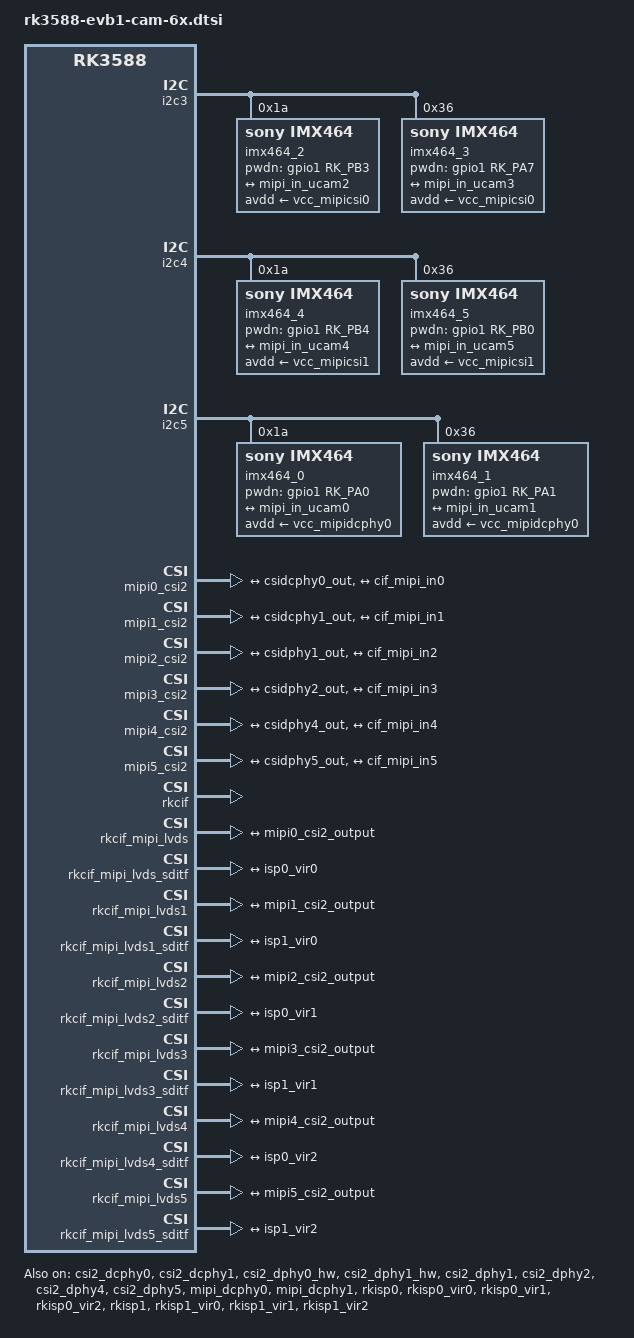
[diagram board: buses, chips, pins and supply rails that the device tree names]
// SPDX-License-Identifier: (GPL-2.0+ OR MIT)
/*
 * Copyright (c) 2021 Rockchip Electronics Co., Ltd.
 *
 */

&csi2_dcphy0 {
	status = "okay";

	ports {
		#address-cells = <1>;
		#size-cells = <0>;
		port@0 {
			reg = <0>;
			#address-cells = <1>;
			#size-cells = <0>;

			mipi_in_ucam0: endpoint@1 {
				reg = <1>;
				remote-endpoint = <&imx464_out0>;
				data-lanes = <1 2>;
			};
		};
		port@1 {
			reg = <1>;
			#address-cells = <1>;
			#size-cells = <0>;

			csidcphy0_out: endpoint@0 {
				reg = <0>;
				remote-endpoint = <&mipi0_csi2_input>;
			};
		};
	};
};

&csi2_dcphy1 {
	status = "okay";

	ports {
		#address-cells = <1>;
		#size-cells = <0>;
		port@0 {
			reg = <0>;
			#address-cells = <1>;
			#size-cells = <0>;

			mipi_in_ucam1: endpoint@1 {
				reg = <1>;
				remote-endpoint = <&imx464_out1>;
				data-lanes = <1 2>;
			};
		};
		port@1 {
			reg = <1>;
			#address-cells = <1>;
			#size-cells = <0>;

			csidcphy1_out: endpoint@0 {
				reg = <0>;
				remote-endpoint = <&mipi1_csi2_input>;
			};
		};
	};
};

&csi2_dphy0_hw {
	status = "okay";
};

&csi2_dphy1_hw {
	status = "okay";
};

&csi2_dphy1 {
	status = "okay";

	ports {
		#address-cells = <1>;
		#size-cells = <0>;
		port@0 {
			reg = <0>;
			#address-cells = <1>;
			#size-cells = <0>;

			mipi_in_ucam2: endpoint@1 {
				reg = <1>;
				remote-endpoint = <&imx464_out2>;
				data-lanes = <1 2>;
			};
		};
		port@1 {
			reg = <1>;
			#address-cells = <1>;
			#size-cells = <0>;

			csidphy1_out: endpoint@0 {
				reg = <0>;
				remote-endpoint = <&mipi2_csi2_input>;
			};
		};
	};
};

&csi2_dphy2 {
	status = "okay";

	ports {
		#address-cells = <1>;
		#size-cells = <0>;
		port@0 {
			reg = <0>;
			#address-cells = <1>;
			#size-cells = <0>;

			mipi_in_ucam3: endpoint@1 {
				reg = <1>;
				remote-endpoint = <&imx464_out3>;
				data-lanes = <1 2>;
			};
		};
		port@1 {
			reg = <1>;
			#address-cells = <1>;
			#size-cells = <0>;

			csidphy2_out: endpoint@0 {
				reg = <0>;
				remote-endpoint = <&mipi3_csi2_input>;
			};
		};
	};
};

&csi2_dphy4 {
	status = "okay";

	ports {
		#address-cells = <1>;
		#size-cells = <0>;
		port@0 {
			reg = <0>;
			#address-cells = <1>;
			#size-cells = <0>;

			mipi_in_ucam4: endpoint@1 {
				reg = <1>;
				remote-endpoint = <&imx464_out4>;
				data-lanes = <1 2>;
			};
		};
		port@1 {
			reg = <1>;
			#address-cells = <1>;
			#size-cells = <0>;

			csidphy4_out: endpoint@0 {
				reg = <0>;
				remote-endpoint = <&mipi4_csi2_input>;
			};
		};
	};
};

&csi2_dphy5 {
	status = "okay";

	ports {
		#address-cells = <1>;
		#size-cells = <0>;
		port@0 {
			reg = <0>;
			#address-cells = <1>;
			#size-cells = <0>;

			mipi_in_ucam5: endpoint@1 {
				reg = <1>;
				remote-endpoint = <&imx464_out5>;
				data-lanes = <1 2>;
			};
		};
		port@1 {
			reg = <1>;
			#address-cells = <1>;
			#size-cells = <0>;

			csidphy5_out: endpoint@0 {
				reg = <0>;
				remote-endpoint = <&mipi5_csi2_input>;
			};
		};
	};
};

&i2c3 {
	status = "okay";

	/* module 77/79 0x1a 78/80 0x36 */
	imx464_2: imx464-2@1a {
		compatible = "sony,imx464";
		status = "okay";
		reg = <0x1a>;
		clocks = <&cru CLK_MIPI_CAMARAOUT_M3>;
		clock-names = "xvclk";
		power-domains = <&power RK3588_PD_VI>;
		pinctrl-names = "default";
		pinctrl-0 = <&mipim0_camera3_clk>;
		avdd-supply = <&vcc_mipicsi0>;
		pwdn-gpios = <&gpio1 RK_PB3 GPIO_ACTIVE_HIGH>;
		rockchip,camera-module-index = <2>;
		rockchip,camera-module-facing = "back";
		rockchip,camera-module-name = "CMK-OT1980-PX1";
		rockchip,camera-module-lens-name = "SHG102";
		port {
			imx464_out2: endpoint {
				remote-endpoint = <&mipi_in_ucam2>;
				data-lanes = <1 2>;
			};
		};
	};

	imx464_3: imx464-3@36 {
		compatible = "sony,imx464";
		status = "okay";
		reg = <0x36>;
		clocks = <&cru CLK_MIPI_CAMARAOUT_M3>;
		clock-names = "xvclk";
		power-domains = <&power RK3588_PD_VI>;
		avdd-supply = <&vcc_mipicsi0>;
		pwdn-gpios = <&gpio1 RK_PA7 GPIO_ACTIVE_HIGH>;
		rockchip,camera-module-index = <3>;
		rockchip,camera-module-facing = "back";
		rockchip,camera-module-name = "CMK-OT1980-PX1";
		rockchip,camera-module-lens-name = "SHG102";
		port {
			imx464_out3: endpoint {
				remote-endpoint = <&mipi_in_ucam3>;
				data-lanes = <1 2>;
			};
		};
	};
};

&i2c4 {
	status = "okay";
	pinctrl-0 = <&i2c4m3_xfer>;

	/* 77/79 0x1a 78/80 0x36 */
	imx464_4: imx464-4@1a {
		compatible = "sony,imx464";
		status = "okay";
		reg = <0x1a>;
		clocks = <&cru CLK_MIPI_CAMARAOUT_M4>;
		clock-names = "xvclk";
		power-domains = <&power RK3588_PD_VI>;
		pinctrl-names = "default";
		pinctrl-0 = <&mipim0_camera4_clk>;
		avdd-supply = <&vcc_mipicsi1>;
		pwdn-gpios = <&gpio1 RK_PB4 GPIO_ACTIVE_HIGH>;
		rockchip,camera-module-index = <0>;
		rockchip,camera-module-facing = "back";
		rockchip,camera-module-name = "CMK-OT1980-PX1";
		rockchip,camera-module-lens-name = "SHG102";
		port {
			imx464_out4: endpoint {
				remote-endpoint = <&mipi_in_ucam4>;
				data-lanes = <1 2>;
			};
		};
	};

	imx464_5: imx464-5@36 {
		compatible = "sony,imx464";
		status = "okay";
		reg = <0x36>;
		clocks = <&cru CLK_MIPI_CAMARAOUT_M4>;
		clock-names = "xvclk";
		power-domains = <&power RK3588_PD_VI>;
		avdd-supply = <&vcc_mipicsi1>;
		pwdn-gpios = <&gpio1 RK_PB0 GPIO_ACTIVE_HIGH>;
		rockchip,camera-module-index = <1>;
		rockchip,camera-module-facing = "back";
		rockchip,camera-module-name = "CMK-OT1980-PX1";
		rockchip,camera-module-lens-name = "SHG102";
		port {
			imx464_out5: endpoint {
				remote-endpoint = <&mipi_in_ucam5>;
				data-lanes = <1 2>;
			};
		};
	};
};

&i2c5 {
	status = "okay";

	/* 77/79 0x1a 78/80 0x36 */
	imx464_0: imx464-0@1a {
		compatible = "sony,imx464";
		status = "okay";
		reg = <0x1a>;
		clocks = <&cru CLK_MIPI_CAMARAOUT_M1>;
		clock-names = "xvclk";
		power-domains = <&power RK3588_PD_VI>;
		pwdn-gpios = <&gpio1 RK_PA0 GPIO_ACTIVE_HIGH>;
		pinctrl-names = "default";
		pinctrl-0 = <&mipim0_camera1_clk>;
		avdd-supply = <&vcc_mipidcphy0>;
		rockchip,camera-module-index = <4>;
		rockchip,camera-module-facing = "back";
		rockchip,camera-module-name = "CMK-OT1980-PX1";
		rockchip,camera-module-lens-name = "SHG102";
		port {
			imx464_out0: endpoint {
				remote-endpoint = <&mipi_in_ucam0>;
				data-lanes = <1 2>;
			};
		};
	};

	imx464_1: imx464-1@36 {
		compatible = "sony,imx464";
		status = "okay";
		reg = <0x36>;
		clocks = <&cru CLK_MIPI_CAMARAOUT_M2>;
		clock-names = "xvclk";
		power-domains = <&power RK3588_PD_VI>;
		pinctrl-names = "default";
		pinctrl-0 = <&mipim0_camera2_clk>;
		pwdn-gpios = <&gpio1 RK_PA1 GPIO_ACTIVE_HIGH>;
		avdd-supply = <&vcc_mipidcphy0>;
		rockchip,camera-module-index = <5>;
		rockchip,camera-module-facing = "back";
		rockchip,camera-module-name = "CMK-OT1980-PX1";
		rockchip,camera-module-lens-name = "SHG102";
		port {
			imx464_out1: endpoint {
				remote-endpoint = <&mipi_in_ucam1>;
				data-lanes = <1 2>;
			};
		};
	};
};

&mipi_dcphy0 {
	status = "okay";
};

&mipi_dcphy1 {
	status = "okay";
};

&mipi0_csi2 {
	status = "okay";

	ports {
		#address-cells = <1>;
		#size-cells = <0>;

		port@0 {
			reg = <0>;
			#address-cells = <1>;
			#size-cells = <0>;

			mipi0_csi2_input: endpoint@1 {
				reg = <1>;
				remote-endpoint = <&csidcphy0_out>;
			};
		};

		port@1 {
			reg = <1>;
			#address-cells = <1>;
			#size-cells = <0>;

			mipi0_csi2_output: endpoint@0 {
				reg = <0>;
				remote-endpoint = <&cif_mipi_in0>;
			};
		};
	};
};

&mipi1_csi2 {
	status = "okay";

	ports {
		#address-cells = <1>;
		#size-cells = <0>;

		port@0 {
			reg = <0>;
			#address-cells = <1>;
			#size-cells = <0>;

			mipi1_csi2_input: endpoint@1 {
				reg = <1>;
				remote-endpoint = <&csidcphy1_out>;
			};
		};

		port@1 {
			reg = <1>;
			#address-cells = <1>;
			#size-cells = <0>;

			mipi1_csi2_output: endpoint@0 {
				reg = <0>;
				remote-endpoint = <&cif_mipi_in1>;
			};
		};
	};
};

&mipi2_csi2 {
	status = "okay";

	ports {
		#address-cells = <1>;
		#size-cells = <0>;

		port@0 {
			reg = <0>;
			#address-cells = <1>;
			#size-cells = <0>;

			mipi2_csi2_input: endpoint@1 {
				reg = <1>;
				remote-endpoint = <&csidphy1_out>;
			};
		};

		port@1 {
			reg = <1>;
			#address-cells = <1>;
			#size-cells = <0>;

			mipi2_csi2_output: endpoint@0 {
				reg = <0>;
				remote-endpoint = <&cif_mipi_in2>;
			};
		};
	};
};

&mipi3_csi2 {
	status = "okay";

	ports {
		#address-cells = <1>;
		#size-cells = <0>;

		port@0 {
			reg = <0>;
			#address-cells = <1>;
			#size-cells = <0>;

			mipi3_csi2_input: endpoint@1 {
				reg = <1>;
				remote-endpoint = <&csidphy2_out>;
			};
		};

		port@1 {
			reg = <1>;
			#address-cells = <1>;
			#size-cells = <0>;

			mipi3_csi2_output: endpoint@0 {
				reg = <0>;
				remote-endpoint = <&cif_mipi_in3>;
			};
		};
	};
};

&mipi4_csi2 {
	status = "okay";

	ports {
		#address-cells = <1>;
		#size-cells = <0>;

		port@0 {
			reg = <0>;
			#address-cells = <1>;
			#size-cells = <0>;

			mipi4_csi2_input: endpoint@1 {
				reg = <1>;
				remote-endpoint = <&csidphy4_out>;
			};
		};

		port@1 {
			reg = <1>;
			#address-cells = <1>;
			#size-cells = <0>;

			mipi4_csi2_output: endpoint@0 {
				reg = <0>;
				remote-endpoint = <&cif_mipi_in4>;
			};
		};
	};
};

&mipi5_csi2 {
	status = "okay";

	ports {
		#address-cells = <1>;
		#size-cells = <0>;

		port@0 {
			reg = <0>;
			#address-cells = <1>;
			#size-cells = <0>;

			mipi5_csi2_input: endpoint@1 {
				reg = <1>;
				remote-endpoint = <&csidphy5_out>;
			};
		};

		port@1 {
			reg = <1>;
			#address-cells = <1>;
			#size-cells = <0>;

			mipi5_csi2_output: endpoint@0 {
				reg = <0>;
				remote-endpoint = <&cif_mipi_in5>;
			};
		};
	};
};

&rkcif {
	status = "okay";
};

&rkcif_mipi_lvds {
	status = "okay";

	port {
		cif_mipi_in0: endpoint {
			remote-endpoint = <&mipi0_csi2_output>;
		};
	};
};

&rkcif_mipi_lvds_sditf {
	status = "okay";

	port {
		mipi_lvds_sditf: endpoint {
			remote-endpoint = <&isp0_vir0>;
		};
	};
};

&rkcif_mipi_lvds1 {
	status = "okay";

	port {
		cif_mipi_in1: endpoint {
			remote-endpoint = <&mipi1_csi2_output>;
		};
	};
};

&rkcif_mipi_lvds1_sditf {
	status = "okay";

	port {
		mipi1_lvds_sditf: endpoint {
			remote-endpoint = <&isp1_vir0>;
		};
	};
};

&rkcif_mipi_lvds2 {
	status = "okay";

	port {
		cif_mipi_in2: endpoint {
			remote-endpoint = <&mipi2_csi2_output>;
		};
	};
};

&rkcif_mipi_lvds2_sditf {
	status = "okay";

	port {
		mipi2_lvds_sditf: endpoint {
			remote-endpoint = <&isp0_vir1>;
		};
	};
};

&rkcif_mipi_lvds3 {
	status = "okay";

	port {
		cif_mipi_in3: endpoint {
			remote-endpoint = <&mipi3_csi2_output>;
		};
	};
};

&rkcif_mipi_lvds3_sditf {
	status = "okay";

	port {
		mipi3_lvds_sditf: endpoint {
			remote-endpoint = <&isp1_vir1>;
		};
	};
};

&rkcif_mipi_lvds4 {
	status = "okay";

	port {
		cif_mipi_in4: endpoint {
			remote-endpoint = <&mipi4_csi2_output>;
		};
	};
};

&rkcif_mipi_lvds4_sditf {
	status = "okay";

	port {
		mipi4_lvds_sditf: endpoint {
			remote-endpoint = <&isp0_vir2>;
		};
	};
};

&rkcif_mipi_lvds5 {
	status = "okay";

	port {
		cif_mipi_in5: endpoint {
			remote-endpoint = <&mipi5_csi2_output>;
		};
	};
};

&rkcif_mipi_lvds5_sditf {
	status = "okay";

	port {
		mipi5_lvds_sditf: endpoint {
			remote-endpoint = <&isp1_vir2>;
		};
	};
};

&rkcif_mmu {
	status = "okay";
};

&rkisp0 {
	status = "okay";
};

&isp0_mmu {
	status = "okay";
};

&rkisp0_vir0 {
	status = "okay";

	port {
		#address-cells = <1>;
		#size-cells = <0>;

		isp0_vir0: endpoint@0 {
			reg = <0>;
			remote-endpoint = <&mipi_lvds_sditf>;
		};
	};
};

&rkisp0_vir1 {
	status = "okay";

	port {
		#address-cells = <1>;
		#size-cells = <0>;

		isp0_vir1: endpoint@0 {
			reg = <0>;
			remote-endpoint = <&mipi2_lvds_sditf>;
		};
	};
};

&rkisp0_vir2 {
	status = "okay";

	port {
		#address-cells = <1>;
		#size-cells = <0>;

		isp0_vir2: endpoint@0 {
			reg = <0>;
			remote-endpoint = <&mipi4_lvds_sditf>;
		};
	};
};

&rkisp1 {
	status = "okay";
};

&isp1_mmu {
	status = "okay";
};

&rkisp1_vir0 {
	status = "okay";

	port {
		#address-cells = <1>;
		#size-cells = <0>;

		isp1_vir0: endpoint@0 {
			reg = <0>;
			remote-endpoint = <&mipi1_lvds_sditf>;
		};
	};
};

&rkisp1_vir1 {
	status = "okay";

	port {
		#address-cells = <1>;
		#size-cells = <0>;

		isp1_vir1: endpoint@0 {
			reg = <0>;
			remote-endpoint = <&mipi3_lvds_sditf>;
		};
	};
};


&rkisp1_vir2 {
	status = "okay";

	port {
		#address-cells = <1>;
		#size-cells = <0>;

		isp1_vir2: endpoint@0 {
			reg = <0>;
			remote-endpoint = <&mipi5_lvds_sditf>;
		};
	};
};
